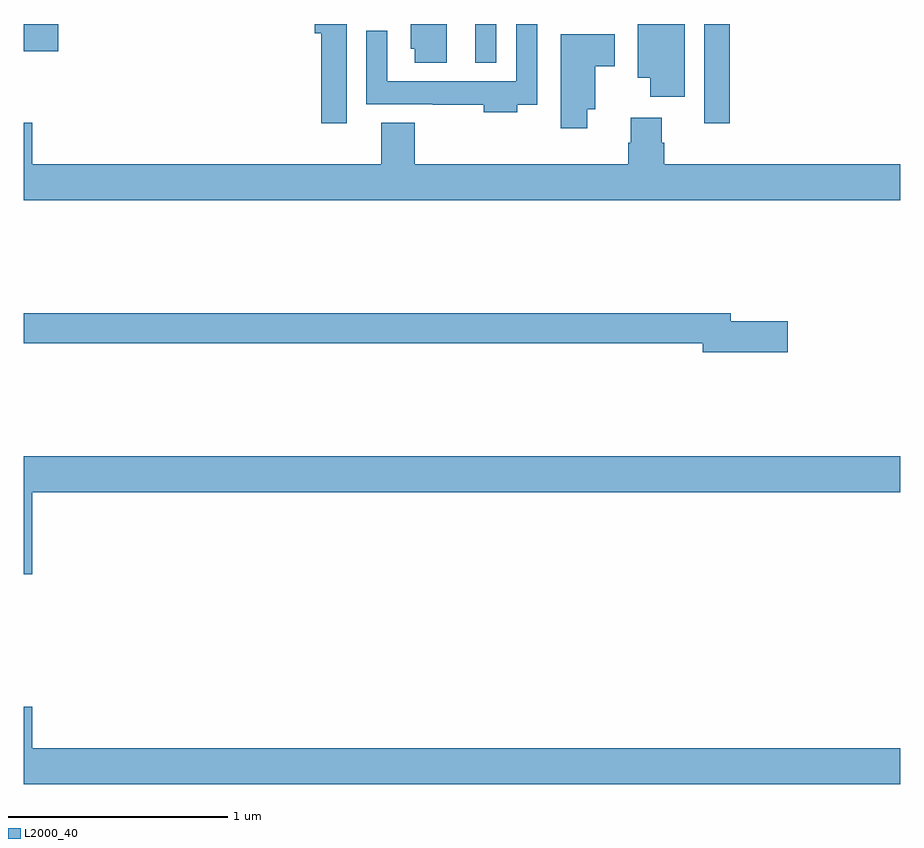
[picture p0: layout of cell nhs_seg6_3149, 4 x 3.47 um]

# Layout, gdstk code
import gdstk
lib = gdstk.Library(unit=1e-6, precision=1e-09)
def R(c, l, rs):  # rectangles x0, y0, x1, y1
    for r in rs: c.add(gdstk.rectangle(r[:2], r[2:], *l))
def P(c, l, *ps):  # polygons
    for p in ps: c.add(gdstk.Polygon(p, *l))
L2000_40 = (2000, 40)

nhs_seg6_3149 = lib.new_cell('nhs_seg6_3149')
R(nhs_seg6_3149, L2000_40, [(300.105,921.048,300.221,921.5), (299.06,921.323,299.157,921.5), (297,921.376,297.157,921.5)])
P(nhs_seg6_3149, L2000_40, [(298.93,921.5),(298.766,921.5),(298.766,921.387),(298.784,921.387),(298.784,921.324),(298.93,921.324)],
  [(300.016,921.5),(299.801,921.5),(299.801,921.254),(299.858,921.254),(299.858,921.168),(300.016,921.168)],
  [(298.473,921.5),(298.328,921.5),(298.328,921.458),(298.357,921.458),(298.357,921.048),(298.473,921.048)],
  [(299.251,921.132),(299.343,921.132),(299.343,921.5),(299.247,921.5),(299.247,921.238),(298.659,921.238),(298.659,921.469),(298.563,921.469),(298.563,921.134),(298.867,921.134),(298.867,921.132),(299.099,921.132),(299.099,921.098),(299.251,921.098)],
  [(299.572,921.11),(299.608,921.11),(299.608,921.307),(299.698,921.307),(299.698,921.454),(299.45,921.454),(299.45,921.024),(299.572,921.024)],
  [(301,920.86),(299.924,920.86),(299.924,920.958),(299.911,920.958),(299.911,921.073),(299.771,921.073),(299.771,920.958),(299.759,920.958),(299.759,920.86),(298.784,920.86),(298.784,921.049),(298.631,921.049),(298.631,920.86),(297.04,920.86),(297.04,921.049),(297,921.049),(297,920.696),(301,920.696)],
  [(300.487,920.144),(300.226,920.144),(300.226,920.18),(297,920.18),(297,920.044),(300.098,920.044),(300.098,920.002),(300.487,920.002)],
  [(297.04,919.364),(301,919.364),(301,919.528),(297,919.528),(297,918.99),(297.04,918.99)],
  [(301,918.196),(297.04,918.196),(297.04,918.385),(297,918.385),(297,918.032),(301,918.032)])

lib.write_gds('nhs_seg6_3149.gds')
